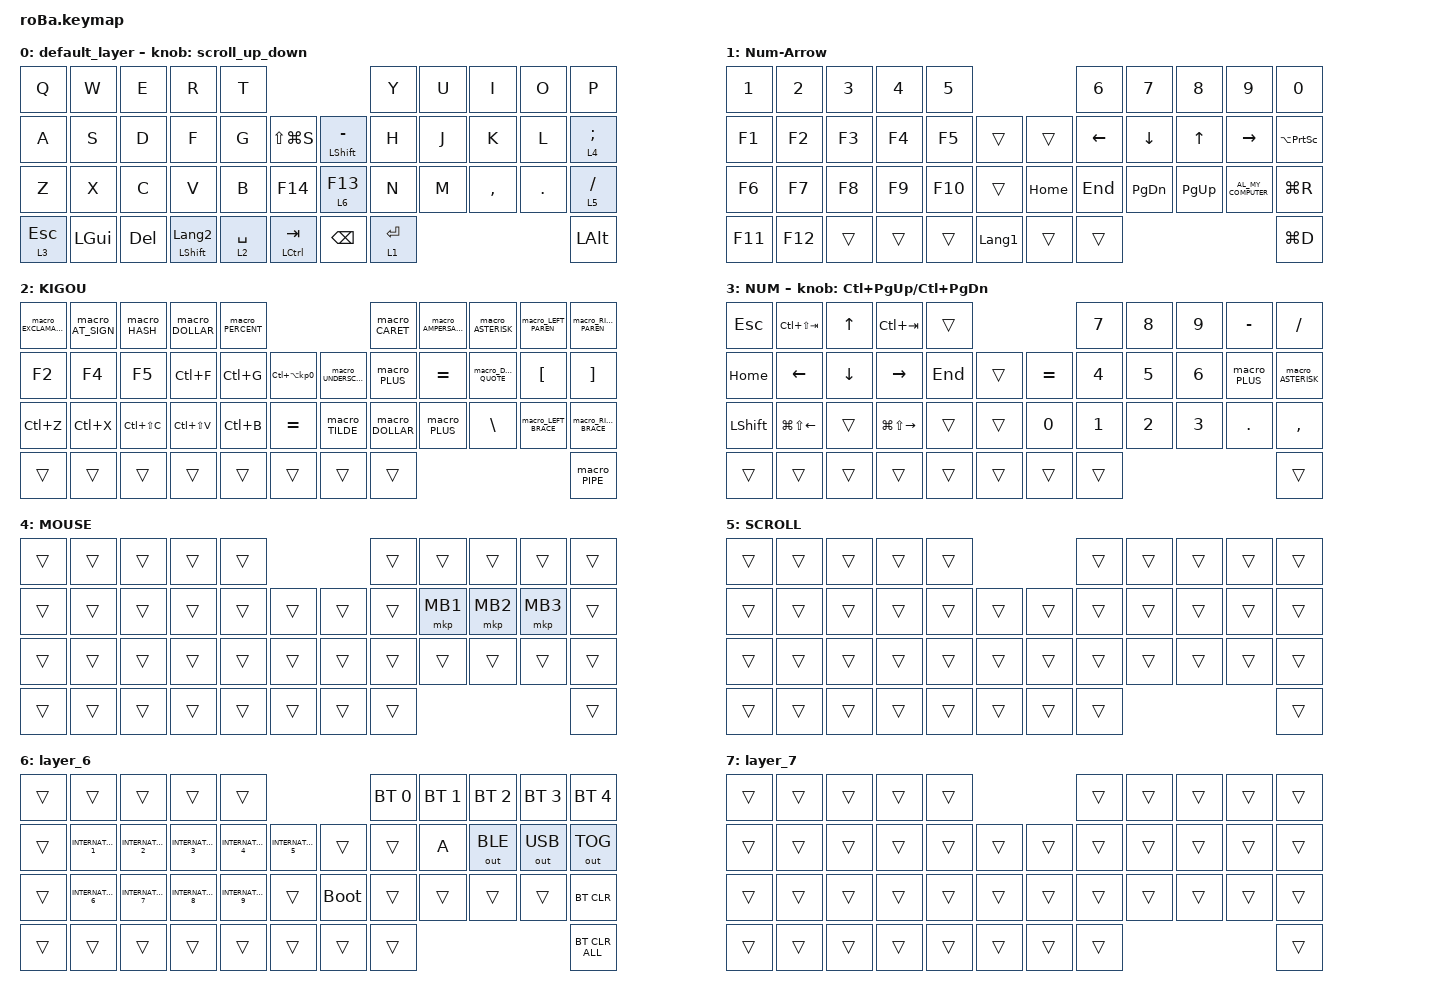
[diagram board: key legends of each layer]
#include <behaviors.dtsi>
#include <dt-bindings/zmk/bt.h>
#include <dt-bindings/zmk/keys.h>
#include <dt-bindings/zmk/outputs.h>
#include <dt-bindings/zmk/pointing.h>

#define ZMK_POINTING_DEFAULT_SCRL_VAL 100
#define MOUSE 4
#define SCROLL 5
#define NUM 6
#define TIMEOUT 50

&mt {
    flavor = "balanced";
    quick-tap-ms = <0>;
};

/ {
    combos {
        compatible = "zmk,combos";

        tab {
            bindings = <&kp TAB>;
            key-positions = <11 12>;
        };

        shift_tab {
            bindings = <&kp LS(TAB)>;
            key-positions = <12 13>;
        };

        muhennkann {
            bindings = <&to_layer_0 INT_MUHENKAN>;
            key-positions = <11 10>;
        };

        double_quotation {
            bindings = <&kp DOUBLE_QUOTES>;
            key-positions = <20 21>;
        };

        eq {
            bindings = <&kp EQUAL>;
            key-positions = <24 25>;
        };
    };

    macros {
        to_layer_0: to_layer_0 {
            compatible = "zmk,behavior-macro-one-param";
            #binding-cells = <1>;
            bindings = <&to 0 &macro_param_1to1 &kp MACRO_PLACEHOLDER>;
            label = "TO_LAYER_0";
        };

        macro_LANG1: macro_LANG1 {
            compatible = "zmk,behavior-macro";
            #binding-cells = <0>;
            label = "LANG1_MACRO";
            wait-ms = <0>;
            bindings =
                <&macro_wait_time TIMEOUT>,
                <&macro_press>,
                <&kp LSHFT>,
                <&macro_press>,
                <&kp LCTRL>,
                <&macro_tap>,
                <&kp SPACE>,
                <&macro_release>,
                <&kp LCTRL>,
                <&macro_release>,
                <&kp LSHFT>;
        };

        macro_LANG2: macro_LANG2 {
            compatible = "zmk,behavior-macro";
            #binding-cells = <0>;
            label = "LANG2_MACRO";
            wait-ms = <0>;
            bindings =
                <&macro_wait_time TIMEOUT>,
                <&macro_press>,
                <&kp LSHFT>,
                <&macro_tap>,
                <&kp SPACE>,
                <&macro_release>,
                <&kp LSHFT>;
        };

        macro_EXCLAMATION: macro_EXCLAMATION {
            compatible = "zmk,behavior-macro";
            #binding-cells = <0>;
            label = "!_MACRO";
            wait-ms = <0>;
            bindings =
                <&macro_wait_time TIMEOUT>,
                <&macro_press>,
                <&kp LSHFT>,
                <&macro_tap>,
                <&kp N1>,
                <&macro_release>,
                <&kp LSHFT>;
        };

        macro_AT_SIGN: macro_AT_SIGN {
            compatible = "zmk,behavior-macro";
            #binding-cells = <0>;
            label = "@_MACRO";
            wait-ms = <0>;
            bindings =
                <&macro_wait_time TIMEOUT>,
                <&macro_press>,
                <&kp LSHFT>,
                <&macro_tap>,
                <&kp N2>,
                <&macro_release>,
                <&kp LSHFT>;
        };

        macro_HASH: macro_HASH {
            compatible = "zmk,behavior-macro";
            #binding-cells = <0>;
            label = "#_MACRO";
            wait-ms = <0>;
            bindings =
                <&macro_wait_time TIMEOUT>,
                <&macro_press>,
                <&kp LSHFT>,
                <&macro_tap>,
                <&kp N3>,
                <&macro_release>,
                <&kp LSHFT>;
        };

        macro_DOLLAR: macro_DOLLAR {
            compatible = "zmk,behavior-macro";
            #binding-cells = <0>;
            label = "$_MACRO";
            wait-ms = <0>;
            bindings =
                <&macro_wait_time TIMEOUT>,
                <&macro_press>,
                <&kp LSHFT>,
                <&macro_tap>,
                <&kp N4>,
                <&macro_release>,
                <&kp LSHFT>;
        };

        macro_PERCENT: macro_PERCENT {
            compatible = "zmk,behavior-macro";
            #binding-cells = <0>;
            label = "%_MACRO";
            wait-ms = <0>;
            bindings =
                <&macro_wait_time TIMEOUT>,
                <&macro_press>,
                <&kp LSHFT>,
                <&macro_tap>,
                <&kp N5>,
                <&macro_release>,
                <&kp LSHFT>;
        };

        macro_CARET: macro_CARET {
            compatible = "zmk,behavior-macro";
            #binding-cells = <0>;
            label = "^_MACRO";
            wait-ms = <0>;
            bindings =
                <&macro_wait_time TIMEOUT>,
                <&macro_press>,
                <&kp LSHFT>,
                <&macro_tap>,
                <&kp N6>,
                <&macro_release>,
                <&kp LSHFT>;
        };

        macro_AMPERSAND: macro_AMPERSAND {
            compatible = "zmk,behavior-macro";
            #binding-cells = <0>;
            label = "&_MACRO";
            wait-ms = <0>;
            bindings =
                <&macro_wait_time TIMEOUT>,
                <&macro_press>,
                <&kp LSHFT>,
                <&macro_tap>,
                <&kp N7>,
                <&macro_release>,
                <&kp LSHFT>;
        };

        macro_ASTERISK: macro_ASTERISK {
            compatible = "zmk,behavior-macro";
            #binding-cells = <0>;
            label = "*_MACRO";
            wait-ms = <0>;
            bindings =
                <&macro_wait_time TIMEOUT>,
                <&macro_press>,
                <&kp LSHFT>,
                <&macro_tap>,
                <&kp N8>,
                <&macro_release>,
                <&kp LSHFT>;
        };

        macro_LEFT_PAREN: macro_LEFT_PAREN {
            compatible = "zmk,behavior-macro";
            #binding-cells = <0>;
            label = "(_MACRO";
            wait-ms = <0>;
            bindings =
                <&macro_wait_time TIMEOUT>,
                <&macro_press>,
                <&kp LSHFT>,
                <&macro_tap>,
                <&kp N9>,
                <&macro_release>,
                <&kp LSHFT>;
        };

        macro_RIGHT_PAREN: macro_RIGHT_PAREN {
            compatible = "zmk,behavior-macro";
            #binding-cells = <0>;
            label = ")_MACRO";
            wait-ms = <0>;
            bindings =
                <&macro_wait_time TIMEOUT>,
                <&macro_press>,
                <&kp LSHFT>,
                <&macro_tap>,
                <&kp N0>,
                <&macro_release>,
                <&kp LSHFT>;
        };

        macro_UNDERSCORE: macro_UNDERSCORE {
            compatible = "zmk,behavior-macro";
            #binding-cells = <0>;
            label = "__MACRO";
            wait-ms = <0>;
            bindings =
                <&macro_wait_time TIMEOUT>,
                <&macro_press>,
                <&kp LSHFT>,
                <&macro_tap>,
                <&kp MINUS>,
                <&macro_release>,
                <&kp LSHFT>;
        };

        macro_PLUS: macro_PLUS {
            compatible = "zmk,behavior-macro";
            #binding-cells = <0>;
            label = "+_MACRO";
            wait-ms = <0>;
            bindings =
                <&macro_wait_time TIMEOUT>,
                <&macro_press>,
                <&kp LSHFT>,
                <&macro_tap>,
                <&kp EQUAL>,
                <&macro_release>,
                <&kp LSHFT>;
        };

        macro_LEFT_BRACE: macro_LEFT_BRACE {
            compatible = "zmk,behavior-macro";
            #binding-cells = <0>;
            label = "{_MACRO";
            wait-ms = <0>;
            bindings =
                <&macro_wait_time TIMEOUT>,
                <&macro_press>,
                <&kp LSHFT>,
                <&macro_tap>,
                <&kp LBKT>,
                <&macro_release>,
                <&kp LSHFT>;
        };

        macro_RIGHT_BRACE: macro_RIGHT_BRACE {
            compatible = "zmk,behavior-macro";
            #binding-cells = <0>;
            label = "}_MACRO";
            wait-ms = <0>;
            bindings =
                <&macro_wait_time TIMEOUT>,
                <&macro_press>,
                <&kp LSHFT>,
                <&macro_tap>,
                <&kp RBKT>,
                <&macro_release>,
                <&kp LSHFT>;
        };

        macro_COLON: macro_COLON {
            compatible = "zmk,behavior-macro";
            #binding-cells = <0>;
            label = ":_MACRO";
            wait-ms = <0>;
            bindings =
                <&macro_wait_time TIMEOUT>,
                <&macro_press>,
                <&kp LSHFT>,
                <&macro_tap>,
                <&kp SEMI>,
                <&macro_release>,
                <&kp LSHFT>;
        };

        macro_DOUBLE_QUOTE: macro_DOUBLE_QUOTE {
            compatible = "zmk,behavior-macro";
            #binding-cells = <0>;
            label = "dq_MACRO";
            wait-ms = <0>;
            bindings =
                <&macro_wait_time TIMEOUT>,
                <&macro_press>,
                <&kp LSHFT>,
                <&macro_tap>,
                <&kp APOSTROPHE>,
                <&macro_release>,
                <&kp LSHFT>;
        };

        macro_LESS_THAN: macro_LESS_THAN {
            compatible = "zmk,behavior-macro";
            #binding-cells = <0>;
            label = "<_MACRO";
            wait-ms = <0>;
            bindings =
                <&macro_wait_time TIMEOUT>,
                <&macro_press>,
                <&kp LSHFT>,
                <&macro_tap>,
                <&kp COMMA>,
                <&macro_release>,
                <&kp LSHFT>;
        };

        macro_GREATER_THAN: macro_GREATER_THAN {
            compatible = "zmk,behavior-macro";
            #binding-cells = <0>;
            label = ">_MACRO";
            wait-ms = <0>;
            bindings =
                <&macro_wait_time TIMEOUT>,
                <&macro_press>,
                <&kp LSHFT>,
                <&macro_tap>,
                <&kp DOT>,
                <&macro_release>,
                <&kp LSHFT>;
        };

        macro_QUESTION: macro_QUESTION {
            compatible = "zmk,behavior-macro";
            #binding-cells = <0>;
            label = "?_MACRO";
            wait-ms = <0>;
            bindings =
                <&macro_wait_time TIMEOUT>,
                <&macro_press>,
                <&kp LSHFT>,
                <&macro_tap>,
                <&kp SLASH>,
                <&macro_release>,
                <&kp LSHFT>;
        };

        macro_PIPE: macro_PIPE {
            compatible = "zmk,behavior-macro";
            #binding-cells = <0>;
            label = "|_MACRO";
            wait-ms = <0>;
            bindings =
                <&macro_wait_time TIMEOUT>,
                <&macro_press>,
                <&kp LSHFT>,
                <&macro_tap>,
                <&kp BACKSLASH>,
                <&macro_release>,
                <&kp LSHFT>;
        };

        macro_TILDE: macro_TILDE {
            compatible = "zmk,behavior-macro";
            #binding-cells = <0>;
            label = "~_MACRO";
            wait-ms = <0>;
            bindings =
                <&macro_wait_time TIMEOUT>,
                <&macro_press>,
                <&kp LSHFT>,
                <&macro_tap>,
                <&kp GRAVE>,
                <&macro_release>,
                <&kp LSHFT>;
        };

        macro_N1: macro_N1 {
            compatible = "zmk,behavior-macro";
            #binding-cells = <0>;
            label = "AT_MACRO";
            wait-ms = <0>; // 必要なら調整
            bindings =
                <&macro_wait_time TIMEOUT>,
                <&macro_press>,
                <&kp LSHFT>,
                <&macro_tap>,
                <&kp N1>,
                <&macro_release>,
                <&kp LSHFT>;
        };

        macro_N2: macro_N2 {
            compatible = "zmk,behavior-macro";
            #binding-cells = <0>;
            label = "AT_MACRO";
            wait-ms = <0>; // 必要なら調整
            bindings =
                <&macro_wait_time TIMEOUT>,
                <&macro_press>,
                <&kp LSHFT>,
                <&macro_tap>,
                <&kp N2>,
                <&macro_release>,
                <&kp LSHFT>;
        };

        macro_N3: macro_N3 {
            compatible = "zmk,behavior-macro";
            #binding-cells = <0>;
            label = "AT_MACRO";
            wait-ms = <0>; // 必要なら調整
            bindings =
                <&macro_wait_time TIMEOUT>,
                <&macro_press>,
                <&kp LSHFT>,
                <&macro_tap>,
                <&kp N3>,
                <&macro_release>,
                <&kp LSHFT>;
        };

        macro_N4: macro_N4 {
            compatible = "zmk,behavior-macro";
            #binding-cells = <0>;
            label = "AT_MACRO";
            wait-ms = <0>; // 必要なら調整
            bindings =
                <&macro_wait_time TIMEOUT>,
                <&macro_press>,
                <&kp LSHFT>,
                <&macro_tap>,
                <&kp N4>,
                <&macro_release>,
                <&kp LSHFT>;
        };

        macro_N5: macro_N5 {
            compatible = "zmk,behavior-macro";
            #binding-cells = <0>;
            label = "AT_MACRO";
            wait-ms = <0>; // 必要なら調整
            bindings =
                <&macro_wait_time TIMEOUT>,
                <&macro_press>,
                <&kp LSHFT>,
                <&macro_tap>,
                <&kp N5>,
                <&macro_release>,
                <&kp LSHFT>;
        };

        macro_N6: macro_N6 {
            compatible = "zmk,behavior-macro";
            #binding-cells = <0>;
            label = "AT_MACRO";
            wait-ms = <0>; // 必要なら調整
            bindings =
                <&macro_wait_time TIMEOUT>,
                <&macro_press>,
                <&kp LSHFT>,
                <&macro_tap>,
                <&kp N6>,
                <&macro_release>,
                <&kp LSHFT>;
        };

        macro_N7: macro_N7 {
            compatible = "zmk,behavior-macro";
            #binding-cells = <0>;
            label = "AT_MACRO";
            wait-ms = <0>; // 必要なら調整
            bindings =
                <&macro_wait_time TIMEOUT>,
                <&macro_press>,
                <&kp LSHFT>,
                <&macro_tap>,
                <&kp N7>,
                <&macro_release>,
                <&kp LSHFT>;
        };

        macro_N8: macro_N8 {
            compatible = "zmk,behavior-macro";
            #binding-cells = <0>;
            label = "AT_MACRO";
            wait-ms = <0>; // 必要なら調整
            bindings =
                <&macro_wait_time TIMEOUT>,
                <&macro_press>,
                <&kp LSHFT>,
                <&macro_tap>,
                <&kp N9>,
                <&macro_release>,
                <&kp LSHFT>;
        };

        macro_N9: macro_N9 {
            compatible = "zmk,behavior-macro";
            #binding-cells = <0>;
            label = "AT_MACRO";
            wait-ms = <0>; // 必要なら調整
            bindings =
                <&macro_wait_time TIMEOUT>,
                <&macro_press>,
                <&kp LSHFT>,
                <&macro_tap>,
                <&kp N9>,
                <&macro_release>,
                <&kp LSHFT>;
        };

        macro_N0: macro_N0 {
            compatible = "zmk,behavior-macro";
            #binding-cells = <0>;
            label = "AT_MACRO";
            wait-ms = <0>; // 必要なら調整
            bindings =
                <&macro_wait_time TIMEOUT>,
                <&macro_press>,
                <&kp LSHFT>,
                <&macro_tap>,
                <&kp N0>,
                <&macro_release>,
                <&kp LSHFT>;
        };
    };

    behaviors {
        lt_to_layer_0: lt_to_layer_0 {
            compatible = "zmk,behavior-hold-tap";
            label = "LAYER_TAP_TO_0";
            bindings = <&mo>, <&to_layer_0>;

            #binding-cells = <2>;
            tapping-term-ms = <200>;
        };

        scroll_up_down: behavior_sensor_rotate_mouse_wheel_up_down {
            compatible = "zmk,behavior-sensor-rotate";
            label = "SCROLL_UP_DOWN";
            #sensor-binding-cells = <0>;
            bindings = <&msc SCRL_UP>, <&msc SCRL_DOWN>;

            tap-ms = <20>;
        };
    };

    ttp223tap: ttp223tap {
        compatible = "zmk,kscan-sideband-behaviors";
        kscan = <&touchkey1>;
        auto-enable;

        touch {
            column = <0>;
            row = <0>;
            bindings = <&mo 4>;
        };
    };

    keymap {
        compatible = "zmk,keymap";

        default_layer {
            bindings = <
&kp Q      &kp W         &kp E       &kp R                      &kp T                                                 &kp Y        &kp U  &kp I      &kp O    &kp P
&kp A      &kp S         &kp D       &kp F                      &kp G        &kp LS(LG(S))      &mt LEFT_SHIFT MINUS  &kp H        &kp J  &kp K      &kp L    &lt 4 SEMICOLON
&kp Z      &kp X         &kp C       &kp V                      &kp B        &kp F14            &lt 6 F13             &kp N        &kp M  &kp COMMA  &kp DOT  &lt 5 SLASH
&lt 3 ESC  &kp LEFT_GUI  &kp DELETE  &mt LEFT_SHIFT LANGUAGE_2  &lt 2 SPACE  &mt LCTRL TAB      &kp BACKSPACE         &lt 1 ENTER                             &kp LEFT_ALT
            >;

            sensor-bindings = <&scroll_up_down>;
        };

        Num-Arrow {
            bindings = <
&kp NUMBER_1  &kp NUMBER_2  &kp NUMBER_3  &kp NUMBER_4  &kp NUMBER_5                                &kp NUMBER_6    &kp NUMBER_7    &kp NUMBER_8  &kp NUMBER_9          &kp NUMBER_0
&kp F1        &kp F2        &kp F3        &kp F4        &kp F5        &trans              &trans    &kp LEFT_ARROW  &kp DOWN_ARROW  &kp UP_ARROW  &kp RIGHT_ARROW       &kp LA(PRINTSCREEN)
&kp F6        &kp F7        &kp F8        &kp F9        &kp F10       &trans              &kp HOME  &kp END         &kp PAGE_DOWN   &kp PAGE_UP   &kp C_AL_MY_COMPUTER  &kp LG(R)
&kp F11       &kp F12       &trans        &trans        &trans        &kp LANGUAGE_1      &trans    &trans                                                              &kp LG(D)
            >;
        };

        KIGOU {
            bindings = <
&macro_EXCLAMATION  &macro_AT_SIGN  &macro_HASH    &macro_DOLLAR  &macro_PERCENT                                                  &macro_CARET   &macro_AMPERSAND  &macro_ASTERISK      &macro_LEFT_PAREN  &macro_RIGHT_PAREN
&kp F2              &kp F4          &kp F5         &kp LC(F)      &kp LC(G)       &kp LC(LA(KP_NUMBER_0))      &macro_UNDERSCORE  &macro_PLUS    &kp EQUAL         &macro_DOUBLE_QUOTE  &kp LEFT_BRACKET   &kp RIGHT_BRACKET
&kp LC(Z)           &kp LC(X)       &kp LC(LS(C))  &kp LC(LS(V))  &kp LC(B)       &kp EQUAL                    &macro_TILDE       &macro_DOLLAR  &macro_PLUS       &kp BACKSLASH        &macro_LEFT_BRACE  &macro_RIGHT_BRACE
&trans              &trans          &trans         &trans         &trans          &trans                       &trans             &trans                                                                   &macro_PIPE
            >;
        };

        NUM {
            bindings = <
&kp ESCAPE      &kp LC(LS(TAB))         &kp UP_ARROW    &kp LC(TAB)              &trans                             &kp NUMBER_7  &kp NUMBER_8  &kp NUMBER_9  &kp MINUS    &kp SLASH
&kp HOME        &kp LEFT_ARROW          &kp DOWN_ARROW  &kp RIGHT_ARROW          &kp END  &trans      &kp EQUAL     &kp NUMBER_4  &kp NUMBER_5  &kp NUMBER_6  &macro_PLUS  &macro_ASTERISK
&kp LEFT_SHIFT  &kp LG(LS(LEFT_ARROW))  &trans          &kp LG(LS(RIGHT_ARROW))  &trans   &trans      &kp NUMBER_0  &kp NUMBER_1  &kp NUMBER_2  &kp NUMBER_3  &kp PERIOD   &kp COMMA
&trans          &trans                  &trans          &trans                   &trans   &trans      &trans        &trans                                                 &trans
            >;

            sensor-bindings = <&inc_dec_kp LC(PAGE_UP) LC(PAGE_DOWN)>;
        };

        MOUSE {
            bindings = <
&trans  &trans  &trans  &trans  &trans                      &trans  &trans    &trans    &trans    &trans
&trans  &trans  &trans  &trans  &trans  &trans      &trans  &trans  &mkp MB1  &mkp MB2  &mkp MB3  &trans
&trans  &trans  &trans  &trans  &trans  &trans      &trans  &trans  &trans    &trans    &trans    &trans
&trans  &trans  &trans  &trans  &trans  &trans      &trans  &trans                                &trans
            >;
        };

        SCROLL {
            bindings = <
&trans  &trans  &trans  &trans  &trans                      &trans  &trans  &trans  &trans  &trans
&trans  &trans  &trans  &trans  &trans  &trans      &trans  &trans  &trans  &trans  &trans  &trans
&trans  &trans  &trans  &trans  &trans  &trans      &trans  &trans  &trans  &trans  &trans  &trans
&trans  &trans  &trans  &trans  &trans  &trans      &trans  &trans                          &trans
            >;
        };

        layer_6 {
            bindings = <
&trans  &trans               &trans               &trans               &trans                                                     &bt BT_SEL 0  &bt BT_SEL 1  &bt BT_SEL 2  &bt BT_SEL 3  &bt BT_SEL 4
&trans  &kp INTERNATIONAL_1  &kp INTERNATIONAL_2  &kp INTERNATIONAL_3  &kp INTERNATIONAL_4  &kp INTERNATIONAL_5      &trans       &trans        &kp A         &out OUT_BLE  &out OUT_USB  &out OUT_TOG
&trans  &kp INTERNATIONAL_6  &kp INTERNATIONAL_7  &kp INTERNATIONAL_8  &kp INTERNATIONAL_9  &trans                   &bootloader  &trans        &trans        &trans        &trans        &bt BT_CLR
&trans  &trans               &trans               &trans               &trans               &trans                   &trans       &trans                                                  &bt BT_CLR_ALL
            >;
        };

        layer_7 {
            bindings = <
&trans  &trans  &trans  &trans  &trans                      &trans  &trans  &trans  &trans  &trans
&trans  &trans  &trans  &trans  &trans  &trans      &trans  &trans  &trans  &trans  &trans  &trans
&trans  &trans  &trans  &trans  &trans  &trans      &trans  &trans  &trans  &trans  &trans  &trans
&trans  &trans  &trans  &trans  &trans  &trans      &trans  &trans                          &trans
            >;
        };
    };
};
